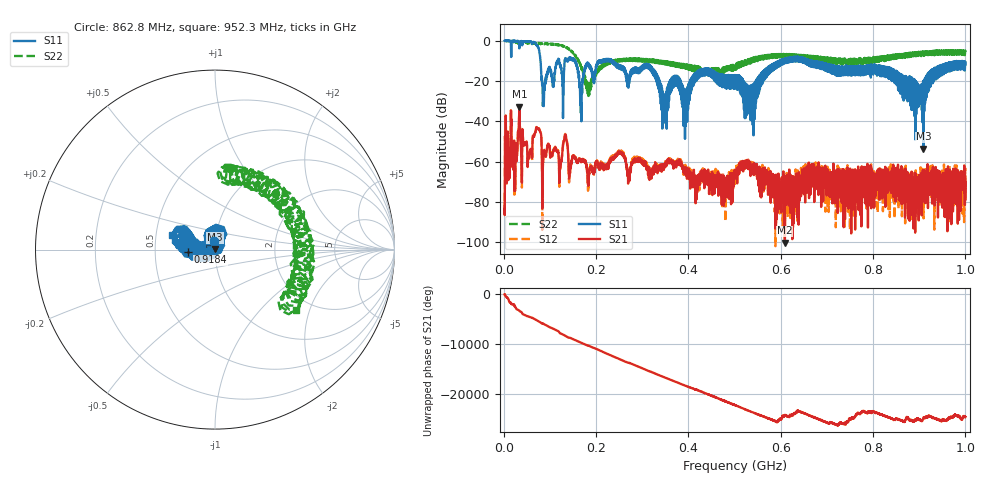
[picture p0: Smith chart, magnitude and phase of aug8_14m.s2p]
!Keysight Technologies N9923A: A.12.45
!Date: Friday, 08 August 2025 17:37:18
!Timezone: (UTC+08:00) Kuala Lumpur, Singapore
!Model: N9923A
!Serial: MY61181427
!GPS Latitude:
!GPS Longitude:
!GPS TimeStamp: 0001-01-01 00:00:00Z
!GPS Seconds Since Last Read: 0
!CHECKSUM:1097725176
!Correction: S11(ON U)S21(ON U)S12(ON U)S22(ON U)
!S2P File: Measurements:S11,S21,S12,S22:
# Hz S DB R 50
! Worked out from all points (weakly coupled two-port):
!   4001 points, 2 MHz to 1 GHz, reference 50 ohm
!   highest |S21| = -32.81 dB at 33.94 MHz (marker M1); lowest = -100.2 dB at 609 MHz (marker M2)
!   lowest |S11| = -53.7 dB at 909.2 MHz (marker M3), VSWR 1.00, Z = 50 + j0.207 ohm
!   |S11| at or under -10 dB: 155.1 MHz to 206 MHz (50.88 MHz wide, 28.2 % of centre); 234.5 MHz to 597.8 MHz (363.3 MHz wide, 87.3 % of centre); 667.2 MHz to end of sweep (the widest 3 of 69)
!   |S22| runs from -27.5 to 0.0 dB; largest |S21 - S12| = 0.0012
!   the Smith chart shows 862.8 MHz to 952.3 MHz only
!   S11 on the Smith chart (normalised r, x): 862.8 MHz: 0.98, +0.09; 918.4 MHz: 0.74, -0.02; 952.3 MHz: 0.60, +0.10
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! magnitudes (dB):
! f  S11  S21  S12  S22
! 2 MHz  -0.1  -83.5  -80.1  0.0
! 33.94 MHz  -3.9  -32.8  -32.5  -0.9
! 56.64 MHz  -0.6  -55.1  -55.6  -1.3
! 72.11 MHz  -2.3  -43.2  -43.0  -1.5
! 86.83 MHz  -32.5  -55.6  -55.7  -1.8
! 133.5 MHz  -8.7  -46.9  -46.4  -3.3
! 145.2 MHz  -8.5  -62.3  -63.6  -5.1
! 168.4 MHz  -35.9  -59.5  -59.4  -13.4
! 183.6 MHz  -11.5  -70.3  -73.0  -27.5
! 222.6 MHz  -9.2  -63.7  -63.0  -11.1
! 334.8 MHz  -19.5  -64.2  -62.2  -11.3
! 348.3 MHz  -33.9  -62.1  -61.1  -11.8
! 501 MHz  -17.1  -66.3  -64.7  -14.5
! 536.7 MHz  -23.0  -64.8  -63.8  -10.2
! 609 MHz  -10.9  -100.2  -67.9  -8.2
! 667.4 MHz  -10.4  -67.1  -70.9  -8.3
! 833.8 MHz  -17.9  -69.2  -64.5  -8.2
! 862.8 MHz  -26.6  -73.0  -72.0  -6.7
! 909.2 MHz  -53.7  -65.2  -68.5  -7.5
! 918.4 MHz  -16.4  -70.4  -69.2  -5.4
! 952.3 MHz  -11.9  -82.3  -70.6  -5.0
! 1 GHz  -11.9  -67.6  -72.9  -6.1
